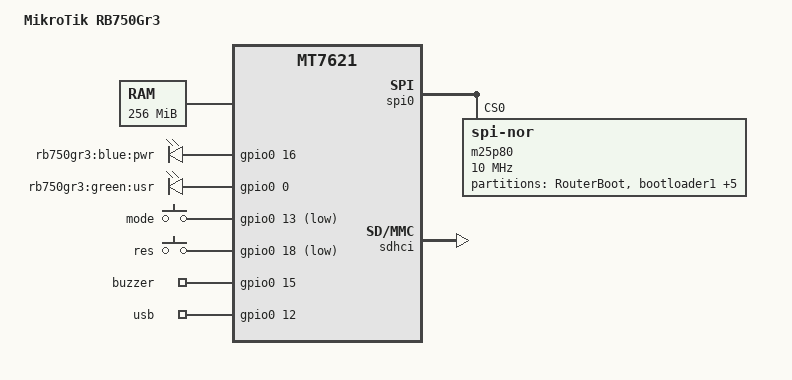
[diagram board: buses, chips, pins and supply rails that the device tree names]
/dts-v1/;

#include "mt7621.dtsi"

#include <dt-bindings/input/input.h>
#include <dt-bindings/gpio/gpio.h>

/ {
	compatible = "mikrotik,rb750gr3", "mediatek,mt7621-soc";
	model = "MikroTik RB750Gr3";

	aliases {
		led-boot = &led_pwr;
		led-failsafe = &led_pwr;
		led-running = &led_pwr;
		led-upgrade = &led_pwr;
	};

	memory@0 {
		device_type = "memory";
		reg = <0x0 0x10000000>;
	};

	chosen {
		bootargs = "console=ttyS0,115200";
	};

	gpio-leds {
		compatible = "gpio-leds";

		led_pwr: pwr {
			label = "rb750gr3:blue:pwr";
			gpios = <&gpio0 16 GPIO_ACTIVE_HIGH>;
		};

		usr {
			label = "rb750gr3:green:usr";
			gpios = <&gpio0 0 GPIO_ACTIVE_HIGH>;
		};
	};

	gpio-keys-polled {
		compatible = "gpio-keys-polled";
		poll-interval = <20>;

		mode {
			label = "mode";
			gpios = <&gpio0 13 GPIO_ACTIVE_LOW>;
			linux,code = <KEY_RFKILL>;
		};

		res {
			label = "res";
			gpios = <&gpio0 18 GPIO_ACTIVE_LOW>;
			linux,code = <KEY_RESTART>;
		};
	};

	gpio_export {
		compatible = "gpio-export";
		#size-cells = <0>;

		buzzer {
			gpio-export,name = "buzzer";
			gpio-export,output = <0>;
			gpios = <&gpio0 15 GPIO_ACTIVE_HIGH>;
		};

		usb {
			gpio-export,name = "usb";
			gpio-export,output = <1>;
			gpios = <&gpio0 12 GPIO_ACTIVE_HIGH>;
		};
	};
};

&spi0 {
	status = "okay";

	m25p80@0 {
		compatible = "jedec,spi-nor";
		reg = <0>;
		spi-max-frequency = <10000000>;
		m25p,chunked-io = <32>;

		partitions {
			compatible = "fixed-partitions";
			#address-cells = <1>;
			#size-cells = <1>;

			partition@0 {
				label = "RouterBoot";
				reg = <0x0 0x40000>;
				read-only;
				compatible = "fixed-partitions";
				#address-cells = <1>;
				#size-cells = <1>;

				partition@0 {
					label = "bootloader1";
					reg = <0x0 0xf000>;
					read-only;
				};

				hard_config: partition@f000 {
					label = "hard_config";
					reg = <0xf000 0x1000>;
					read-only;
				};

				partition@10000 {
					label = "bootloader2";
					reg = <0x10000 0xf000>;
					read-only;
				};

				partition@20000 {
					label = "soft_config";
					reg = <0x20000 0x1000>;
				};

				partition@30000 {
					label = "bios";
					reg = <0x30000 0x1000>;
					read-only;
				};
			};

			partition@40000 {
				compatible = "mikrotik,minor";
				label = "firmware";
				reg = <0x040000 0xfc0000>;
			};
		};
	};
};

&ethernet {
	mtd-mac-address = <&hard_config 0x0010>;
	mtd-mac-address-increment = <1>;
};

&pinctrl {
	state_default: pinctrl0 {
		gpio {
			ralink,group = "i2c", "uart2", "uart3", "pcie", "rgmii2", "jtag";
			ralink,function = "gpio";
		};
	};
};

&sdhci {
	status = "okay";
};
